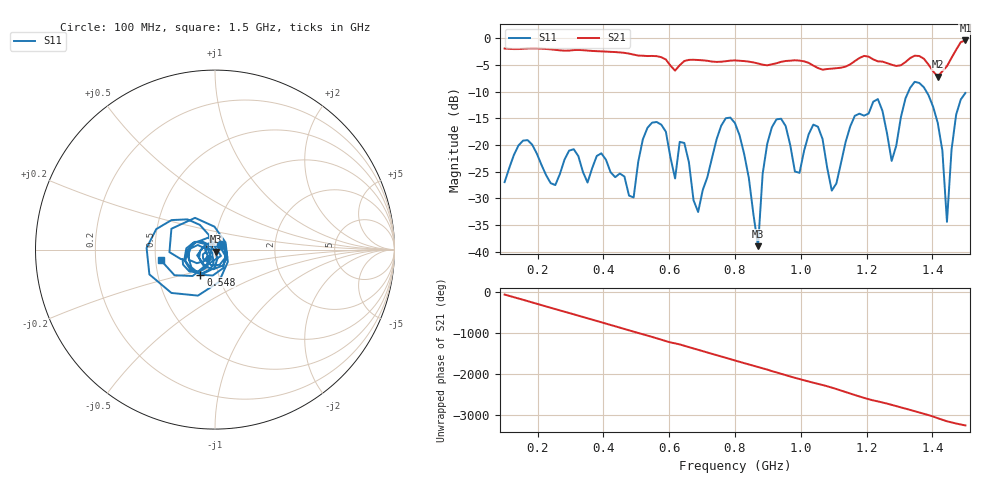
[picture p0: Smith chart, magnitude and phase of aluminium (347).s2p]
! NanoVNA-App
! Date: 2025-09-25 14:57:59
! Start: 100MHz Stop: 1,5GHz Points: 101
! S-Parameter data: F S11 S21 S12 S22
# Hz S RI R 50
!  Frequency  S11_Real  S11_Imag  S21_Real  S21_Imag  S12_Real  S12_Imag  S22_Real  S22_Imag
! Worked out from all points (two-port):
!   101 points, 100 MHz to 1.5 GHz, reference 50 ohm
!   highest |S21| = -0.41 dB at 1.5 GHz (marker M1); lowest = -7.2 dB at 1.416 GHz (marker M2)
!   |S21| within 3 dB of the highest: start of sweep to 566.2 MHz; 1.46 GHz to end of sweep (the widest 2 of 4)
!   lowest |S11| = -39.0 dB at 870 MHz (marker M3), VSWR 1.02, Z = 50.3 - j1.09 ohm
!   |S11| at or under -10 dB: start of sweep to 1.327 GHz; 1.382 GHz to end of sweep
!   S12 and S22 are empty: the file has one direction only
!   S11 on the Smith chart (normalised r, x): 100 MHz: 1.07, +0.06; 548 MHz: 0.82, -0.24; 1.5 GHz: 0.53, -0.07
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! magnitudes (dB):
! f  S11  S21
! 100 MHz  -27.0  -1.9
! 156 MHz  -19.2  -2.0
! 338 MHz  -25.1  -2.2
! 492 MHz  -29.8  -3.1
! 548 MHz  -15.8  -3.3
! 576 MHz  -16.2  -3.5
! 618 MHz  -26.3  -6.1
! 646 MHz  -19.6  -4.3
! 688 MHz  -32.5  -4.1
! 800 MHz  -15.9  -4.2
! 870 MHz  -39.0  -4.7
! 912 MHz  -16.7  -4.9
! 996 MHz  -25.2  -4.2
! 1.038 GHz  -16.2  -5.1
! 1.094 GHz  -28.5  -5.7
! 1.234 GHz  -11.4  -4.3
! 1.276 GHz  -23.0  -5.0
! 1.346 GHz  -8.2  -3.3
! 1.416 GHz  -15.9  -7.2
! 1.444 GHz  -34.4  -5.2
! 1.472 GHz  -14.3  -2.2
! 1.5 GHz  -10.3  -0.4
